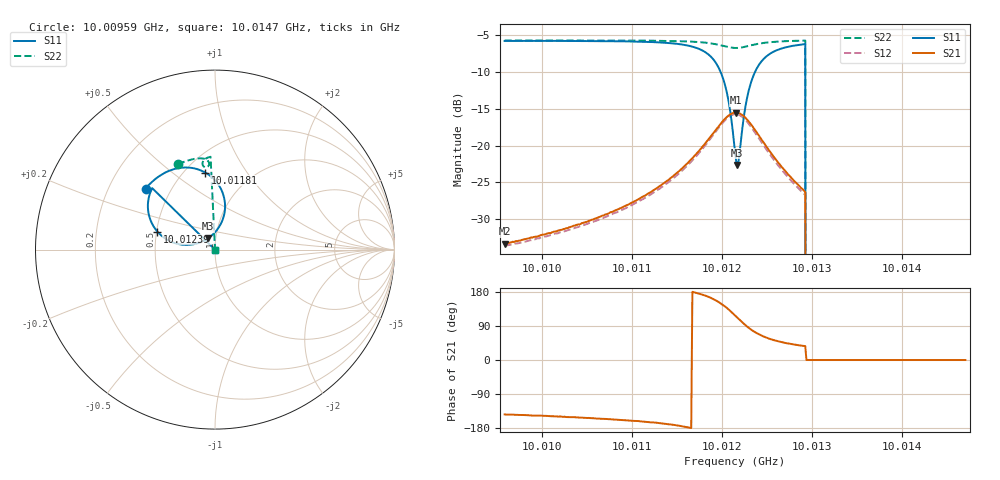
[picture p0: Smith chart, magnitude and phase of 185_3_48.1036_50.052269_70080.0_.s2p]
#  HZ  S  RI  R  50.00
! Rohde & Schwarz Vector Network Analyzer
! Rohde-Schwarz,ZNB20-2Port,1311601062101988,3.16
! Created: UTC 12/23/2023, 3:53:12 AM
! freq[Hz]  re:S11  im:S11  re:S21  im:S21  re:S12  im:S12  re:S22  im:S22
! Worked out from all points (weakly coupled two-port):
!   401 points, 10.00959 GHz to 10.0147 GHz, reference 50 ohm
!   highest |S21| = -15.51 dB at 10.01216 GHz (marker M1); lowest = -33.3 dB at 10.00959 GHz (marker M2)
!   lowest |S11| = -22.6 dB at 10.01217 GHz (marker M3), VSWR 1.16, Z = 45.8 + j5.73 ohm
!   |S11| at or under -10 dB: 10.01199 GHz to 10.01237 GHz (380.9 kHz wide, 0.0038 % of centre); 10.01293 GHz to end of sweep
!   |S22| runs from - to -5.7 dB; largest |S21 - S12| = 0.0084
!   S11 on the Smith chart (normalised r, x): 10.00959 GHz: 0.36, +0.33; 10.01181 GHz: 0.63, +0.66; 10.01239 GHz: 0.51, +0.11; 10.0147 GHz: 1.00, +0.00
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1.0009588e10  -0.3871 0.3398  -0.0173 -0.0128  -0.016 -0.0131  -0.2064 0.4752
1.0010445e10  -0.332 0.3934  -0.0262 -0.0139  -0.0246 -0.0145  -0.1528 0.4959
1.0010918e10  -0.287 0.4238  -0.036 -0.0141  -0.034 -0.0151  -0.1206 0.5043
1.0011302e10  -0.2298 0.448  -0.051 -0.0124  -0.0484 -0.0144  -0.0921 0.5085
1.0011583e10  -0.1578 0.4576  -0.072 -0.00504  -0.0693 -0.00881  -0.0678 0.508
1.0011813e10  -0.0546 0.4296  -0.1015 0.0176  -0.0992 0.0116  -0.0453 0.4995
1.0011928e10  0.0139 0.3689  -0.1177 0.048  -0.1169 0.0401  -0.0355 0.4885
1.0012018e10  0.0535 0.2751  -0.1208 0.0862  -0.1214 0.0789  -0.0329 0.4753
1.0012082e10  0.0478 0.1822  -0.1077 0.1202  -0.1104 0.1124  -0.037 0.4653
1.0012145e10  -0.00537 0.0906  -0.0775 0.1487  -0.0811 0.1418  -0.0467 0.459
1.0012158e10  -0.022 0.0754  -0.0697 0.1525  -0.0737 0.1458  -0.0491 0.4586
1.0012171e10  -0.0397 0.0622  -0.0618 0.1555  -0.066 0.1492  -0.0515 0.4587
1.0012197e10  -0.0788 0.0417  -0.0454 0.1591  -0.0497 0.1531  -0.0562 0.4594
1.0012248e10  -0.1612 0.0263  -0.0131 0.1568  -0.0173 0.1514  -0.0641 0.4644
1.0012286e10  -0.2179 0.0346  0.00785 0.1485  0.00289 0.1436  -0.0678 0.4699
1.0012388e10  -0.3207 0.0998  0.0404 0.1154  0.0352 0.1119  -0.0688 0.4857
1.0012567e10  -0.3729 0.2207  0.0513 0.0679  0.0461 0.067  -0.0559 0.504
1.00129e10  -0.3528 0.3372  0.0399 0.0305  0.0366 0.0307  -0.0269 0.5168
1.0012964e10  0 0  0 0  0 0  0 0
1.0013002e10  0 0  0 0  0 0  0 0
1.0013859e10  0 0  0 0  0 0  0 0
1.0014703e10  0 0  0 0  0 0  0 0
